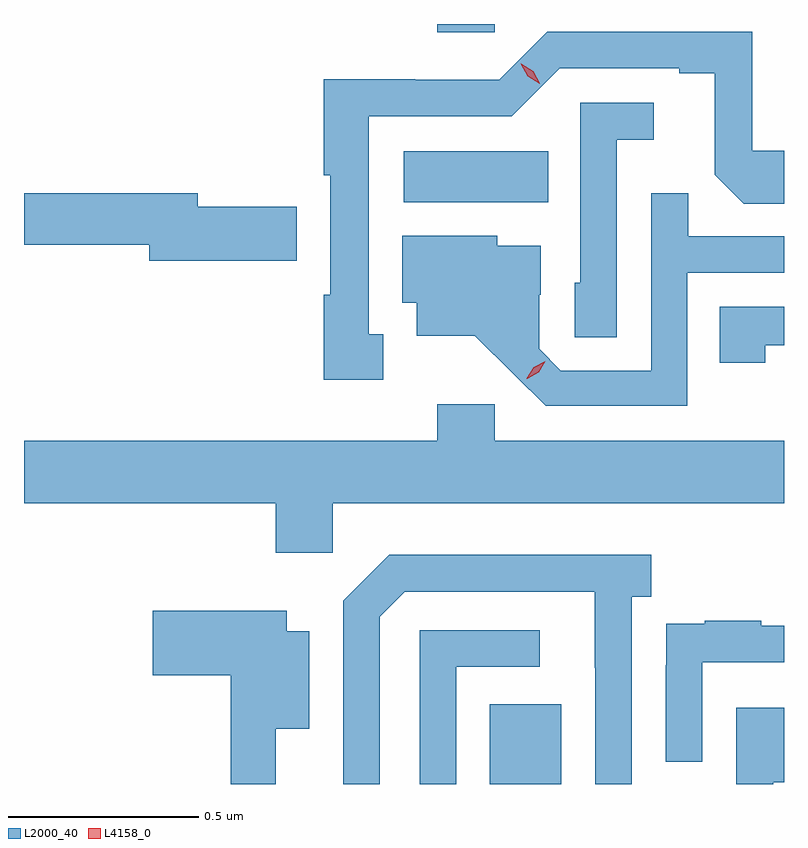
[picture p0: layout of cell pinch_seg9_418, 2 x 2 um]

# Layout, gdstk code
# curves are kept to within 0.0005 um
import gdstk
lib = gdstk.Library(unit=1e-6, precision=1e-09)
def R(c, l, rs):  # rectangles x0, y0, x1, y1
    for r in rs: c.add(gdstk.rectangle(r[:2], r[2:], *l))
def P(c, l, *ps):  # polygons
    for p in ps: c.add(gdstk.Polygon(p, *l))
L2000_40 = (2000, 40)
L4158_0 = (4158, 0)

pinch_seg9_418 = lib.new_cell('pinch_seg9_418')
R(pinch_seg9_418, L2000_40, [(330.521,1232.977,330.709,1233.187), (330.294,1234.508,330.674,1234.642), (330.383,1234.955,330.534,1234.977)])
P(pinch_seg9_418, L2000_40, [(330.241,1234.161),(330.202,1234.161),(330.202,1234.734),(330.579,1234.734),(330.705,1234.86),(331.019,1234.86),(331.019,1234.848),(331.113,1234.848),(331.113,1234.58),(331.189,1234.504),(331.295,1234.504),(331.295,1234.644),(331.212,1234.644),(331.212,1234.956),(330.672,1234.956),(330.546,1234.83),(330.324,1234.83),(330.324,1234.832),(330.084,1234.832),(330.084,1234.579),(330.101,1234.579),(330.101,1234.265),(330.084,1234.265),(330.084,1234.041),(330.241,1234.041)],
  [(330.855,1234.673),(330.952,1234.673),(330.952,1234.77),(330.759,1234.77),(330.759,1234.296),(330.744,1234.296),(330.744,1234.153),(330.855,1234.153)],
  [(331.041,1234.323),(331.295,1234.323),(331.295,1234.419),(331.043,1234.419),(331.043,1234.532),(330.945,1234.532),(330.945,1234.065),(330.708,1234.065),(330.651,1234.122),(330.651,1234.264),(330.655,1234.264),(330.655,1234.393),(330.54,1234.393),(330.54,1234.42),(330.29,1234.42),(330.29,1234.244),(330.329,1234.244),(330.329,1234.157),(330.481,1234.157),(330.668,1233.972),(331.041,1233.972)],
  [(330.013,1234.496),(329.752,1234.496),(329.752,1234.532),(329.295,1234.532),(329.295,1234.396),(329.624,1234.396),(329.624,1234.354),(330.013,1234.354)],
  [(331.245,1234.132),(331.295,1234.132),(331.295,1234.233),(331.126,1234.233),(331.126,1234.086),(331.245,1234.086)],
  [(330.108,1233.716),(331.295,1233.716),(331.295,1233.88),(330.534,1233.88),(330.534,1233.976),(330.383,1233.976),(330.383,1233.88),(329.295,1233.88),(329.295,1233.716),(329.957,1233.716),(329.957,1233.585),(330.108,1233.585)],
  [(330.231,1233.417),(330.297,1233.483),(330.797,1233.483),(330.797,1233.283),(330.798,1233.283),(330.798,1232.977),(330.894,1232.977),(330.894,1233.47),(330.946,1233.47),(330.946,1233.58),(330.256,1233.58),(330.135,1233.459),(330.135,1232.977),(330.231,1232.977)],
  [(329.957,1233.122),(330.046,1233.122),(330.046,1233.379),(329.986,1233.379),(329.986,1233.433),(329.634,1233.433),(329.634,1233.263),(329.839,1233.263),(329.839,1232.977),(329.957,1232.977)],
  [(331.08,1233.297),(331.295,1233.297),(331.295,1233.393),(331.235,1233.393),(331.235,1233.406),(331.087,1233.406),(331.087,1233.399),(330.985,1233.399),(330.985,1233.29),(330.984,1233.29),(330.984,1233.036),(331.08,1233.036)],
  [(330.432,1233.285),(330.652,1233.285),(330.652,1233.381),(330.336,1233.381),(330.336,1232.977),(330.432,1232.977)],
  [(331.267,1232.981),(331.295,1232.981),(331.295,1233.178),(331.169,1233.178),(331.169,1232.977),(331.267,1232.977)])
P(pinch_seg9_418, L4158_0, [(330.618,1234.044),(330.618,1234.045),(330.636,1234.074),(330.667,1234.09),(330.667,1234.09),(330.667,1234.09),(330.65,1234.06),(330.619,1234.044)],
  [(330.652,1234.82),(330.62,1234.839),(330.602,1234.872),(330.602,1234.872),(330.603,1234.872),(330.635,1234.853),(330.652,1234.821),(330.652,1234.82)])

lib.write_gds('pinch_seg9_418.gds')
